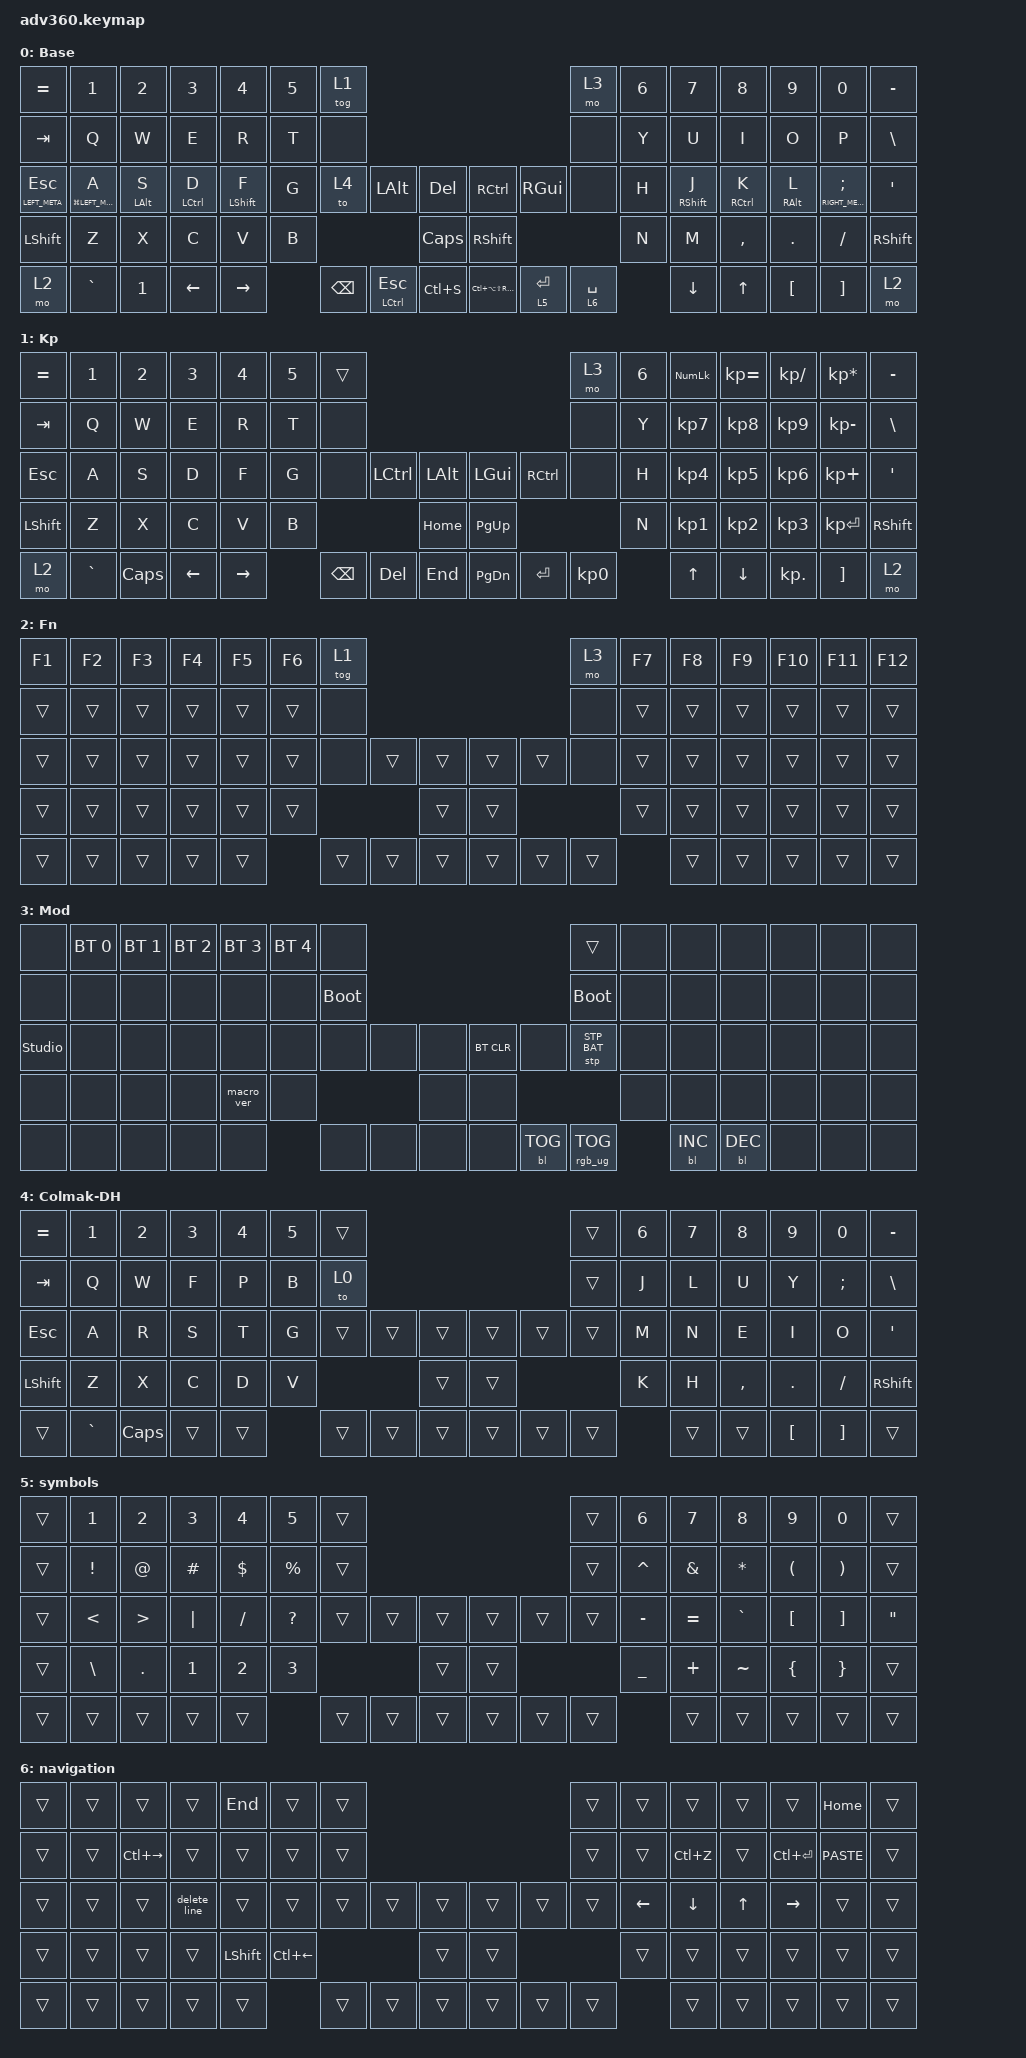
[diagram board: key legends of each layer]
#include <dt-bindings/zmk/stp.h>
#include <behaviors.dtsi>
#include <dt-bindings/zmk/backlight.h>
#include <dt-bindings/zmk/bt.h>
#include <dt-bindings/zmk/keys.h>
#include <dt-bindings/zmk/rgb.h>

/ {
    behaviors {
        #include "macros.dtsi"
      #include "version.dtsi"

        hm: homerow_mods {
            compatible = "zmk,behavior-hold-tap";
            label = "HOMEROW_MODS";
            #binding-cells = <2>;
            tapping-term-ms = <200>;
            quick_tap_ms = <175>;
            flavor = "tap-preferred";
            bindings = <&kp>, <&kp>;
        };

        HRM_left_index_v1: HRM_left_index_v1 {
            compatible = "zmk,behavior-hold-tap";
            label = "HRM_LEFT_INDEX_V1";
            bindings = <&kp>, <&kp>;

            #binding-cells = <2>;
            quick-tap-ms = <300>;
            require-prior-idle-ms = <100>;
            tapping-term-ms = <190>;
            flavor = "tap-preferred";
        };

        HRM_left_middy_v1: HRM_left_middy_v1 {
            compatible = "zmk,behavior-hold-tap";
            label = "HRM_LEFT_MIDDY_V1";
            bindings = <&kp>, <&kp>;

            #binding-cells = <2>;
            quick-tap-ms = <300>;
            require-prior-idle-ms = <150>;
            tapping-term-ms = <210>;
            flavor = "tap-preferred";
        };

        HRM_left_pinky_v1: HRM_left_pinky_v1 {
            compatible = "zmk,behavior-hold-tap";
            label = "HRM_LEFT_PINKY_V1";
            bindings = <&kp>, <&kp>;

            #binding-cells = <2>;
            quick-tap-ms = <300>;
            require-prior-idle-ms = <150>;
            tapping-term-ms = <280>;
            flavor = "tap-preferred";
        };

        HRM_left_ring_v1: HRM_left_ring_v1 {
            compatible = "zmk,behavior-hold-tap";
            label = "HRM_LEFT_RING_V1";
            bindings = <&kp>, <&kp>;

            #binding-cells = <2>;
            quick-tap-ms = <300>;
            require-prior-idle-ms = <150>;
            tapping-term-ms = <240>;
            flavor = "tap-preferred";
        };

        HRM_right_index_v1: HRM_right_index_v1 {
            compatible = "zmk,behavior-hold-tap";
            label = "HRM_RIGHT_INDEX_V1";
            bindings = <&kp>, <&kp>;

            #binding-cells = <2>;
            quick-tap-ms = <300>;
            require-prior-idle-ms = <100>;
            tapping-term-ms = <190>;
            flavor = "tap-preferred";
        };

        HRM_right_middy_v1: HRM_right_middy_v1 {
            compatible = "zmk,behavior-hold-tap";
            label = "HRM_RIGHT_MIDDY_V1";
            bindings = <&kp>, <&kp>;

            #binding-cells = <2>;
            quick-tap-ms = <300>;
            require-prior-idle-ms = <150>;
            tapping-term-ms = <210>;
            flavor = "tap-preferred";
        };

        HRM_right_pinky_v1: HRM_right_pinky_v1 {
            compatible = "zmk,behavior-hold-tap";
            label = "HRM_RIGHT_PINKY_V1";
            bindings = <&kp>, <&kp>;

            #binding-cells = <2>;
            quick-tap-ms = <300>;
            require-prior-idle-ms = <150>;
            tapping-term-ms = <280>;
            flavor = "tap-preferred";
        };

        HRM_right_ring_v1: HRM_right_ring_v1 {
            compatible = "zmk,behavior-hold-tap";
            label = "HRM_RIGHT_RING_V1";
            bindings = <&kp>, <&kp>;

            #binding-cells = <2>;
            quick-tap-ms = <300>;
            require-prior-idle-ms = <150>;
            tapping-term-ms = <240>;
            flavor = "tap-preferred";
        };
    };

    combos {
        compatible = "zmk,combos";

        caps {
            bindings = <&kp CAPSLOCK>;
            key-positions = <46 28>;
        };
    };

    macros {
        arrow_macro: arrow_macro {
            compatible = "zmk,behavior-macro";
            #binding-cells = <0>;
            bindings = <&kp EQUAL &kp GREATER_THAN>;
            label = "ARROW_MACRO";
        };

        delete_line: delete_line {
            compatible = "zmk,behavior-macro";
            #binding-cells = <0>;
            bindings = <&kp END &kp LS(HOME) &kp LC(C) &kp DELETE>;
            label = "DELETE_LINE";
        };
    };

    keymap {
        compatible = "zmk,keymap";

        default_layer {
            display-name = "Base";
            bindings = <
&kp EQUAL             &kp N1                              &kp N2                        &kp N3                             &kp N4                           &kp N5  &tog 1                                                                                         &mo 3        &kp N6  &kp N7                             &kp N8                               &kp N9                          &kp N0                                    &kp MINUS
&kp TAB               &kp Q                               &kp W                         &kp E                              &kp R                            &kp T   &none                                                                                          &none        &kp Y   &kp U                              &kp I                                &kp O                           &kp P                                     &kp BSLH
&hm LEFT_META ESCAPE  &HRM_left_pinky_v1 LG(LEFT_META) A  &HRM_left_ring_v1 LEFT_ALT S  &HRM_left_middy_v1 LEFT_CONTROL D  &HRM_left_index_v1 LEFT_SHIFT F  &kp G   &to 4     &kp LEFT_ALT             &kp DELETE        &kp RIGHT_CONTROL          &kp RIGHT_GUI  &none        &kp H   &HRM_right_index_v1 RIGHT_SHIFT J  &HRM_right_middy_v1 RIGHT_CONTROL K  &HRM_right_ring_v1 RIGHT_ALT L  &HRM_right_pinky_v1 RIGHT_META SEMICOLON  &kp SQT
&kp LSHFT             &kp Z                               &kp X                         &kp C                              &kp V                            &kp B                                      &kp CAPSLOCK      &kp RIGHT_SHIFT                                        &kp N   &kp M                              &kp COMMA                            &kp DOT                         &kp FSLH                                  &kp RSHFT
&mo 2                 &kp GRAVE                           &kp NUMBER_1                  &kp LEFT                           &kp RIGHT                                &kp BSPC  &mt LEFT_CONTROL ESCAPE  &kp LC(S)         &kp LC(LA(LS(RIGHT_GUI)))  &lt 5 RETURN   &lt 6 SPACE          &kp DOWN                           &kp UP_ARROW                         &kp LBKT                        &kp RBKT                                  &mo 2
            >;
        };

        keypad {
            display-name = "Kp";
            bindings = <
&kp EQUAL  &kp N1     &kp N2    &kp N3    &kp N4     &kp N5  &trans                                                   &mo 3      &kp N6  &kp KP_NUM  &kp KP_EQUAL  &kp KP_DIVIDE  &kp KP_MULTIPLY  &kp MINUS
&kp TAB    &kp Q      &kp W     &kp E     &kp R      &kp T   &none                                                    &none      &kp Y   &kp KP_N7   &kp KP_N8     &kp KP_N9      &kp KP_MINUS     &kp BSLH
&kp ESC    &kp A      &kp S     &kp D     &kp F      &kp G   &none     &kp LCTRL  &kp LALT      &kp LGUI   &kp RCTRL  &none      &kp H   &kp KP_N4   &kp KP_N5     &kp KP_N6      &kp KP_PLUS      &kp SQT
&kp LSHFT  &kp Z      &kp X     &kp C     &kp V      &kp B                        &kp HOME      &kp PG_UP                        &kp N   &kp KP_N1   &kp KP_N2     &kp KP_N3      &kp KP_ENTER     &kp RSHFT
&mo 2      &kp GRAVE  &kp CAPS  &kp LEFT  &kp RIGHT          &kp BSPC  &kp DEL    &kp END       &kp PG_DN  &kp ENTER  &kp KP_N0          &kp UP      &kp DOWN      &kp KP_DOT     &kp RBKT         &mo 2
            >;
        };

        fn {
            display-name = "Fn";
            bindings = <
&kp F1  &kp F2  &kp F3  &kp F4  &kp F5  &kp F6  &tog 1                                      &mo 3   &kp F7  &kp F8  &kp F9  &kp F10  &kp F11  &kp F12
&trans  &trans  &trans  &trans  &trans  &trans  &none                                       &none   &trans  &trans  &trans  &trans   &trans   &trans
&trans  &trans  &trans  &trans  &trans  &trans  &none   &trans  &trans      &trans  &trans  &none   &trans  &trans  &trans  &trans   &trans   &trans
&trans  &trans  &trans  &trans  &trans  &trans                  &trans      &trans                  &trans  &trans  &trans  &trans   &trans   &trans
&trans  &trans  &trans  &trans  &trans          &trans  &trans  &trans      &trans  &trans  &trans          &trans  &trans  &trans   &trans   &trans
            >;
        };

        mod {
            display-name = "Mod";
            bindings = <
&none           &bt BT_SEL 0  &bt BT_SEL 1  &bt BT_SEL 2  &bt BT_SEL 3  &bt BT_SEL 4  &none                                                  &trans           &none  &none       &none       &none  &none  &none
&none           &none         &none         &none         &none         &none         &bootloader                                            &bootloader      &none  &none       &none       &none  &none  &none
&studio_unlock  &none         &none         &none         &none         &none         &none        &none  &none      &bt BT_CLR  &none       &stp STP_BAT     &none  &none       &none       &none  &none  &none
&none           &none         &none         &none         &macro_ver    &none                             &none      &none                                    &none  &none       &none       &none  &none  &none
&none           &none         &none         &none         &none                       &none        &none  &none      &none       &bl BL_TOG  &rgb_ug RGB_TOG         &bl BL_INC  &bl BL_DEC  &none  &none  &none
            >;
        };

        Colmak-DH {
            bindings = <
&kp EQUAL  &kp N1     &kp N2    &kp N3  &kp N4  &kp N5  &trans                                      &trans  &kp N6  &kp N7  &kp N8     &kp N9    &kp N0    &kp MINUS
&kp TAB    &kp Q      &kp W     &kp F   &kp P   &kp B   &to 0                                       &trans  &kp J   &kp L   &kp U      &kp Y     &kp SEMI  &kp BSLH
&kp ESC    &kp A      &kp R     &kp S   &kp T   &kp G   &trans  &trans  &trans      &trans  &trans  &trans  &kp M   &kp N   &kp E      &kp I     &kp O     &kp APOS
&kp LSHFT  &kp Z      &kp X     &kp C   &kp D   &kp V                   &trans      &trans                  &kp K   &kp H   &kp COMMA  &kp DOT   &kp FSLH  &kp RSHFT
&trans     &kp GRAVE  &kp CAPS  &trans  &trans          &trans  &trans  &trans      &trans  &trans  &trans          &trans  &trans     &kp LBKT  &kp RBKT  &trans
            >;
        };

        symbols {
            bindings = <
&trans  &kp NUMBER_1     &kp N2            &kp N3        &kp N4        &kp N5        &trans                                      &trans  &kp N6          &kp N7         &kp N8     &kp N9                &kp N0                 &trans
&trans  &kp EXCLAMATION  &kp AT_SIGN       &kp HASH      &kp DOLLAR    &kp PERCENT   &trans                                      &trans  &kp CARET       &kp AMPERSAND  &kp STAR   &kp LEFT_PARENTHESIS  &kp RIGHT_PARENTHESIS  &trans
&trans  &kp LESS_THAN    &kp GREATER_THAN  &kp PIPE      &kp SLASH     &kp QUESTION  &trans  &trans  &trans      &trans  &trans  &trans  &kp MINUS       &kp EQUAL      &kp GRAVE  &kp LEFT_BRACKET      &kp RIGHT_BRACKET      &kp DOUBLE_QUOTES
&trans  &kp BACKSLASH    &kp PERIOD        &kp NUMBER_1  &kp NUMBER_2  &kp NUMBER_3                  &trans      &trans                  &kp UNDERSCORE  &kp PLUS       &kp TILDE  &kp LEFT_BRACE        &kp RIGHT_BRACE        &trans
&trans  &trans           &trans            &trans        &trans                      &trans  &trans  &trans      &trans  &trans  &trans                  &trans         &trans     &trans                &trans                 &trans
            >;
        };

        navigation {
            bindings = <
&trans  &trans  &trans         &trans        &kp END         &trans        &trans                                      &trans  &trans    &trans     &trans        &trans         &kp HOME     &trans
&trans  &trans  &kp LC(RIGHT)  &trans        &trans          &trans        &trans                                      &trans  &trans    &kp LC(Z)  &trans        &kp LC(ENTER)  &kp K_PASTE  &trans
&trans  &trans  &trans         &delete_line  &trans          &trans        &trans  &trans  &trans      &trans  &trans  &trans  &kp LEFT  &kp DOWN   &kp UP_ARROW  &kp RIGHT      &trans       &trans
&trans  &trans  &trans         &trans        &kp LEFT_SHIFT  &kp LC(LEFT)                  &trans      &trans                  &trans    &trans     &trans        &trans         &trans       &trans
&trans  &trans  &trans         &trans        &trans                        &trans  &trans  &trans      &trans  &trans  &trans            &trans     &trans        &trans         &trans       &trans
            >;
        };

        extra1 {
            display-name = "Red";
            status = "reserved";
        };

        extra2 {
            display-name = "Purple";
            status = "reserved";
        };

        extra3 {
            display-name = "Cyan";
            status = "reserved";
        };

        extra4 {
            display-name = "Yellow";
            status = "reserved";
        };
    };
};
